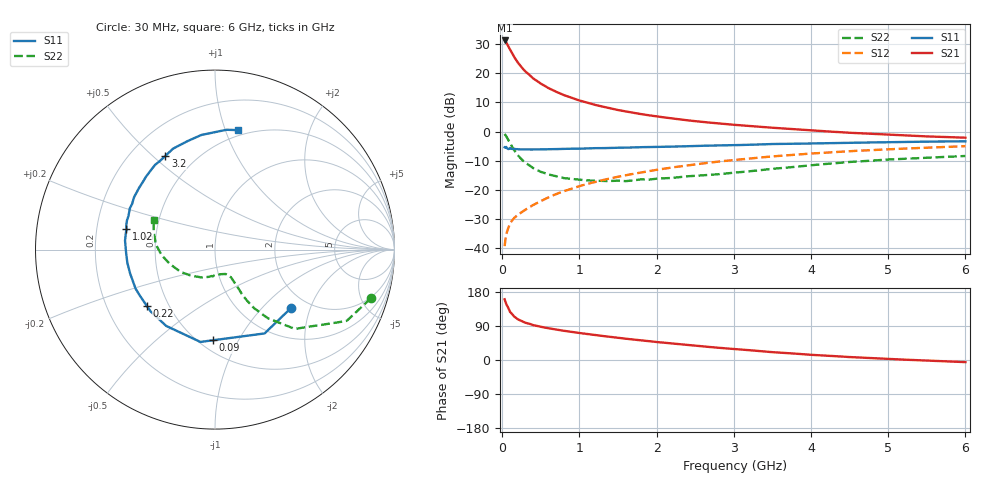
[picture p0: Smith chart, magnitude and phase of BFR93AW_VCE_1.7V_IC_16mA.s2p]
! Infineon Technologies  Discrete & RF Semiconductors
! BFR93AW
! VCE =  1.7 V,  IC =  16 mA
! Common Emitter S-Parameters:  Nov 2015
# GHz  S  MA  R  50
!  f  S11  S21  S12  S22
! GHz  MAG  ANG  MAG  ANG  MAG  ANG  MAG  ANG
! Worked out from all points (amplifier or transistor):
!   206 points, 30 MHz to 6 GHz, reference 50 ohm
!   highest |S21| = 31.4 dB at 30 MHz (marker M1)
!   |S21| within 3 dB of that: start of sweep to 97.83 MHz
!   unconditionally stable (mu >= 1): 572 MHz to 2.464 GHz
!   at 200 MHz: K = 0.65, MSG = 26.3 dB, |S12| = -28.7 dB
!   at 1.56 GHz: K = 1.06, MAG = 9.7 dB, |S12| = -15.3 dB
!   at 6 GHz: K = 0.95, MSG = 1.5 dB, |S12| = -5.1 dB
!   S11 on the Smith chart (normalised r, x): 30 MHz: 1.62, -1.48; 90 MHz: 0.58, -0.79; 220 MHz: 0.38, -0.31; 1.02 GHz: 0.33, +0.10; 3.2 GHz: 0.34, +0.55; 6 GHz: 0.45, +1.11
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0.03  0.5339 -37.7  37.03 160.2  0.0106 72.5  0.9094 -17.4
0.05  0.5426 -59.4  34.52 147.4  0.0167 67.5  0.8345 -28.4
0.09  0.505 -91.1  27.31 132.0  0.0242 59.5  0.6636 -40.7
0.1  0.5208 -99.0  25.92 126.9  0.0261 58.2  0.6273 -44.8
0.15  0.5048 -122.6  19.54 115.0  0.032 55.2  0.4825 -52.4
0.2  0.4973 -136.4  15.51 107.5  0.0366 54.6  0.3922 -56.3
0.22  0.4928 -140.6  14.38 105.6  0.0382 55.5  0.367 -56.9
0.26  0.4909 -148.3  12.34 101.5  0.0416 57.0  0.3213 -58.2
0.3  0.493 -153.8  10.79 98.2  0.0451 57.9  0.2898 -58.8
0.4  0.4914 -164.3  8.218 92.1  0.0542 60.6  0.2343 -59.1
0.5  0.4939 -171.4  6.657 87.4  0.0635 62.8  0.2016 -59.6
0.6  0.4953 -176.7  5.58 83.7  0.0735 64.6  0.1821 -59.7
0.7  0.4978 178.5  4.823 80.2  0.0839 66.1  0.17 -61.1
1.02  0.5073 166.7  3.363 70.7  0.1168 66.7  0.1469 -67.8
1.04  0.5086 166.1  3.304 70.2  0.1188 66.7  0.1461 -68.8
1.5  0.5273 154.1  2.344 58.6  0.1664 65.3  0.1424 -83.8
2.02  0.5445 141.4  1.804 47.0  0.221 61.6  0.1552 -102.1
3.1  0.5861 119.7  1.276 27.4  0.3325 51.5  0.2005 -134.5
3.2  0.591 117.9  1.246 25.9  0.3423 50.4  0.2064 -137.9
4.1  0.6266 102.7  1.026 12.6  0.4255 40.5  0.2698 -164.8
5.1  0.6568 89.2  0.871 1.8  0.5011 29.5  0.3336 173.0
6  0.6781 79.0  0.783 -5.6  0.5591 20.2  0.3791 154.6
